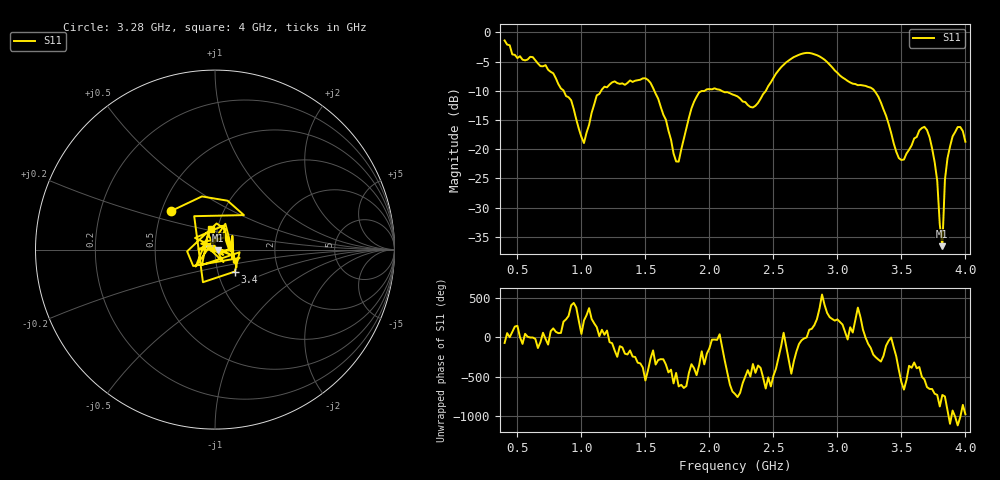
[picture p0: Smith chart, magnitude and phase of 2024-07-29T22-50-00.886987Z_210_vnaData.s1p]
!Created with skrf (http://scikit-rf.org).
# Hz S RI R 50.0
!freq ReS11 ImS11
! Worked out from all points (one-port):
!   181 points, 400 MHz to 4 GHz, reference 50 ohm
!   lowest |S11| = -36.6 dB at 3.82 GHz (marker M1), VSWR 1.03, Z = 51.5 - j0.341 ohm
!   |S11| at or under -10 dB: 1.57 GHz to 1.963 GHz (392.8 MHz wide, 22.2 % of centre); 2.094 GHz to 2.441 GHz (346.5 MHz wide, 15.3 % of centre); 3.289 GHz to end of sweep (the widest 3 of 4)
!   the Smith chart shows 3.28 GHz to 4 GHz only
!   S11 on the Smith chart (normalised r, x): 3.28 GHz: 0.56, +0.27; 3.4 GHz: 1.21, -0.30; 4 GHz: 0.93, +0.21
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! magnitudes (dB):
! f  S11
! 400 MHz  -1.4
! 720 MHz  -5.6
! 860 MHz  -9.9
! 1.02 GHz  -18.9
! 1.12 GHz  -10.8
! 1.3 GHz  -8.8
! 1.54 GHz  -8.6
! 1.76 GHz  -22.1
! 1.86 GHz  -13.0
! 1.92 GHz  -10.3
! 2.2 GHz  -10.8
! 2.34 GHz  -12.8
! 2.66 GHz  -4.2
! 2.84 GHz  -3.9
! 3.1 GHz  -8.6
! 3.28 GHz  -9.7
! 3.4 GHz  -15.6
! 3.48 GHz  -21.5
! 3.56 GHz  -20.1
! 3.66 GHz  -16.4
! 3.72 GHz  -17.9
! 3.78 GHz  -25.4
! 3.8 GHz  -32.9
! 3.82 GHz  -36.6
! 3.84 GHz  -25.3
! 3.88 GHz  -19.5
! 3.94 GHz  -16.2
! 4 GHz  -18.7
